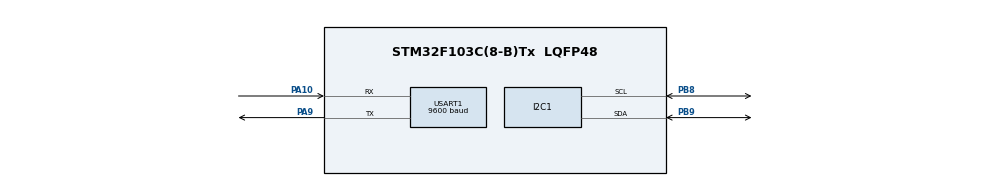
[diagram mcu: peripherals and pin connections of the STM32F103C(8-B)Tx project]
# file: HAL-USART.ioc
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Mcu.Family=STM32F1
Mcu.Name=STM32F103C(8-B)Tx
Mcu.Package=LQFP48
NVIC.PriorityGroup=NVIC_PRIORITYGROUP_4
NVIC.USART1_IRQn=true\:1\:0\:true\:false\:true\:true\:true\:true
PA10.Mode=Asynchronous
PA10.Signal=USART1_RX
PA13.Mode=Serial_Wire
PA13.Signal=SYS_JTMS-SWDIO
PA14.Mode=Serial_Wire
PA14.Signal=SYS_JTCK-SWCLK
PA9.Mode=Asynchronous
PA9.Signal=USART1_TX
PB8.Mode=I2C
PB8.Signal=I2C1_SCL
PB9.Mode=I2C
PB9.Signal=I2C1_SDA
ProjectManager.HeapSize=0x200
ProjectManager.StackSize=0x400
ProjectManager.TargetToolchain=CMake
RCC.APB1Freq_Value=8000000
RCC.APB2Freq_Value=8000000
USART1.BaudRate=9600
USART1.VirtualMode=VM_ASYNC
board=custom

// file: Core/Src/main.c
/* USER CODE BEGIN Header */
/**
  ******************************************************************************
  * @file           : main.c
  * @brief          : Main program body
  ******************************************************************************
  * @attention
  *
  * Copyright (c) 2026 STMicroelectronics.
  * All rights reserved.
  *
  * This software is licensed under terms that can be found in the LICENSE file
  * in the root directory of this software component.
  * If no LICENSE file comes with this software, it is provided AS-IS.
  *
  ******************************************************************************
  */
/* USER CODE END Header */
#include "main.h"
#include "i2c.h"
#include "usart.h"
#include "gpio.h"

/* USER CODE BEGIN Includes */
#include "OLED.h"
#include "OLED_Data.h"
#include "Serial.h"
#include <stdint.h>
/* USER CODE END Includes */

void SystemClock_Config(void);

int main(void)
{

  /* MCU Configuration--------------------------------------------------------*/

  /* Reset of all peripherals, Initializes the Flash interface and the Systick. */
  HAL_Init();

  /* Configure the system clock */
  SystemClock_Config();

  /* Initialize all configured peripherals */
  MX_GPIO_Init();
  MX_I2C1_Init();
  MX_USART1_UART_Init();
  /* USER CODE BEGIN 2 */
  OLED_Init();
  Serial_Init();

  /* USER CODE END 2 */

  /* Infinite loop */
  /* USER CODE BEGIN WHILE */
  OLED_ShowString(0, 0, "ID", OLED_8X16);
  OLED_Updata();

  // uint8_t Byte = 0x01;
  // Serial_SendByte(&Byte);

  // uint8_t Array[] = {0x02, 0x03, 0x04, 0x05};
  // Serial_SendArray(Array, 4);

  char string[] = "hello!";
  Serial_SendString(string);

  uint32_t BigNumber = 4294967295;
  Serial_SendNumber(BigNumber, 10);
  while (1)
  {
    if (Serial_GetRxFlag() == 1)	//如果接收到数据包
		{
			OLED_ShowHexNum(4, 10, Serial_RxPacket[0], 2, 8);	//显示接收的数据包
			OLED_ShowHexNum(4, 20, Serial_RxPacket[1], 2, 8);
			OLED_ShowHexNum(4, 30, Serial_RxPacket[2], 2, 8);
			OLED_ShowHexNum(4, 40, Serial_RxPacket[3], 2, 8);
		}
    OLED_Updata();
    /* USER CODE END WHILE */

  }
}

void SystemClock_Config(void)
{
  RCC_OscInitTypeDef RCC_OscInitStruct = {0};
  RCC_ClkInitTypeDef RCC_ClkInitStruct = {0};

  /** Initializes the RCC Oscillators according to the specified parameters
  * in the RCC_OscInitTypeDef structure.
  */
  RCC_OscInitStruct.OscillatorType = RCC_OSCILLATORTYPE_HSI;
  RCC_OscInitStruct.HSIState = RCC_HSI_ON;
  RCC_OscInitStruct.HSICalibrationValue = RCC_HSICALIBRATION_DEFAULT;
  RCC_OscInitStruct.PLL.PLLState = RCC_PLL_NONE;
  if (HAL_RCC_OscConfig(&RCC_OscInitStruct) != HAL_OK)
  {
    Error_Handler();
  }

  /** Initializes the CPU, AHB and APB buses clocks
  */
  RCC_ClkInitStruct.ClockType = RCC_CLOCKTYPE_HCLK|RCC_CLOCKTYPE_SYSCLK
                              |RCC_CLOCKTYPE_PCLK1|RCC_CLOCKTYPE_PCLK2;
  RCC_ClkInitStruct.SYSCLKSource = RCC_SYSCLKSOURCE_HSI;
  RCC_ClkInitStruct.AHBCLKDivider = RCC_SYSCLK_DIV1;
  RCC_ClkInitStruct.APB1CLKDivider = RCC_HCLK_DIV1;
  RCC_ClkInitStruct.APB2CLKDivider = RCC_HCLK_DIV1;

  if (HAL_RCC_ClockConfig(&RCC_ClkInitStruct, FLASH_LATENCY_0) != HAL_OK)
  {
    Error_Handler();
  }
}

void Error_Handler(void)
{
  __disable_irq();
  while (1)
  {
  }
}
